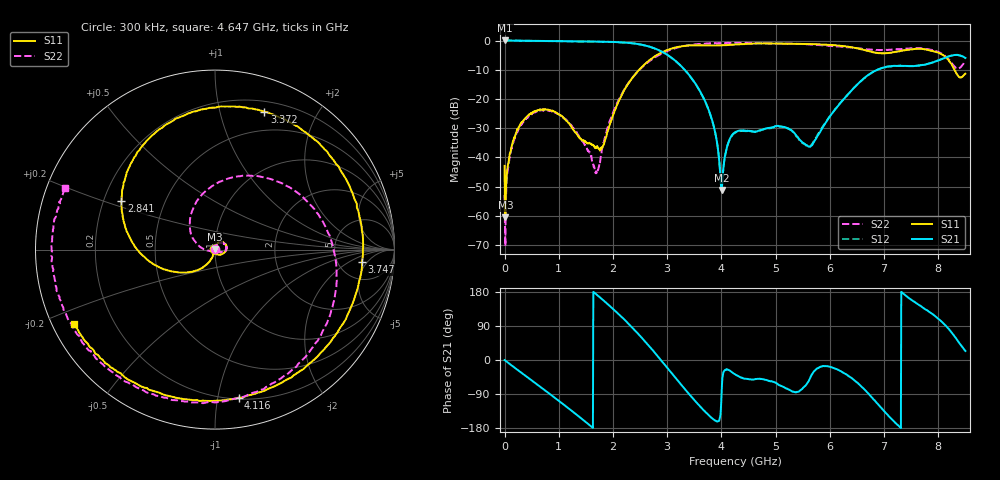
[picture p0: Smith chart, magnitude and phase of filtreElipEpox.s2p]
# Hz S RI R 50
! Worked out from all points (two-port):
!   1201 points, 300 kHz to 8.5 GHz, reference 50 ohm
!   highest |S21| = 0.02 dB at 7.383 MHz (marker M1); lowest = -51.1 dB at 4.002 GHz (marker M2)
!   |S21| within 3 dB of the highest: start of sweep to 2.806 GHz
!   lowest |S11| = -60.5 dB at 14.47 MHz (marker M3), VSWR 1.00, Z = 49.9 + j0.077 ohm
!   |S11| at or under -10 dB: start of sweep to 2.483 GHz; 8.299 GHz to end of sweep
!   |S22| runs from -70.3 to -0.8 dB; largest |S21 - S12| = 0.0073
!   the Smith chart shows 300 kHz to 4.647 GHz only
!   S11 on the Smith chart (normalised r, x): 300 kHz: 0.99, +0.01; 2.841 GHz: 0.27, +0.23; 3.372 GHz: 0.30, +1.38; 3.747 GHz: 8.64, -3.61; 4.116 GHz: 0.21, -1.15; 4.647 GHz: 0.06, -0.25
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300000  -0.00459 0.00555  0.9993 -0.00533  0.9938 -0.00671  -0.000604 0.00219
7383083  -0.000302 0.00104  1.002 -0.0145  1.001 -0.0144  0.00014 0.000586
1.446617e7  -0.000552 0.000771  0.9994 -0.0309  1 -0.0317  2.45e-05 0.000304
1.632109e8  0.00193 0.0195  0.9474 -0.3068  0.9469 -0.306  0.00302 0.0181
4.890328e8  0.0403 0.0411  0.5985 -0.7839  0.598 -0.7859  0.0399 0.0375
9.423501e8  0.0583 -0.00923  -0.1951 -0.9562  -0.194 -0.9562  0.0582 -0.00522
1.416917e9  -0.00749 -0.0188  -0.8701 -0.4167  -0.87 -0.418  0.0178 -0.00872
1.714406e9  -0.0145 -0.00439  -0.9419 0.1577  -0.9436 0.1547  0.000113 -0.00612
2.238554e9  -0.1077 -0.1171  -0.1999 0.8965  -0.2015 0.8968  -0.1352 0.0906
2.840616e9  -0.5212 0.2689  0.6803 0.0885  0.6784 0.091  0.4676 0.3114
3.10269e9  -0.307 0.6721  0.3823 -0.3045  0.3841 -0.2994  0.6674 -0.2629
3.371848e9  0.2749 0.7683  0.0262 -0.2789  0.0284 -0.2769  0.2334 -0.7918
3.747251e9  0.8181 -0.0682  -0.0576 -0.0429  -0.0563 -0.043  -0.5548 -0.6978
4.002242e9  0.4251 -0.713  0.000109 -0.00278  9.83e-05 -0.00278  -0.8229 -0.3782
4.115571e9  0.1309 -0.8251  0.015 -0.00709  0.0149 -0.00719  -0.8834 -0.2272
4.25015e9  -0.2014 -0.8286  0.0212 -0.0166  0.0207 -0.0163  -0.91 -0.0602
4.646803e9  -0.7864 -0.4159  0.0179 -0.0214  0.0174 -0.0214  -0.8343 0.3432
5.666767e9  -0.7107 0.5002  0.0126 -0.0101  0.0137 -0.00975  -0.1918 0.8317
6.481321e9  0.1304 0.734  0.0916 -0.1408  0.0908 -0.1402  0.6751 0.3122
7.090466e9  0.4726 -0.3905  -0.3086 -0.1864  -0.3062 -0.1856  0.2701 -0.639
7.805858e9  -0.5038 -0.4709  -0.2565 0.3048  -0.2576 0.3061  -0.4973 -0.51
8.5e9  -0.1449 -0.2293  0.4603 0.2028  0.459 0.2053  -0.1755 -0.413
